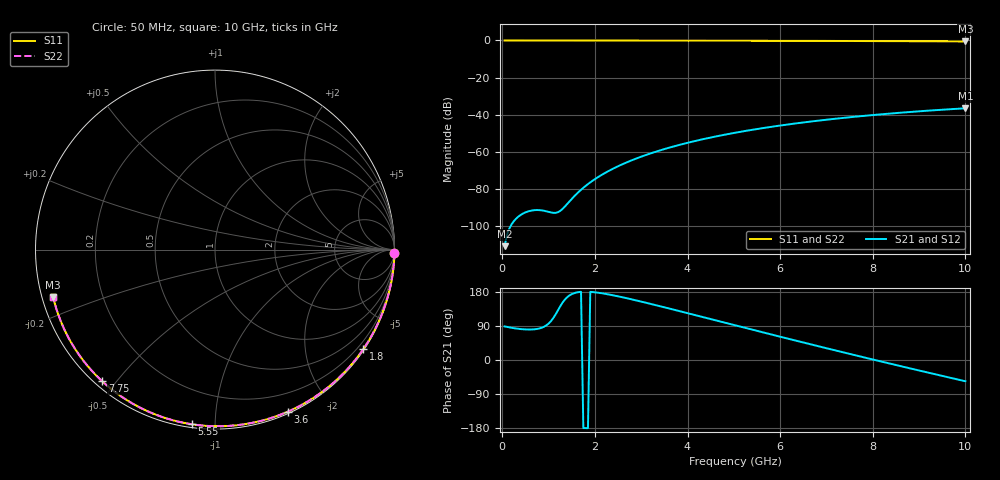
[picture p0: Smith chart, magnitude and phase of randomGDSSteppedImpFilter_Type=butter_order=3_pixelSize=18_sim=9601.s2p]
! freq	dB(S11)	phase(S11)	dB(S12)	phase(S12)
!  dB(S21)	phase(S21)	dB(S22)	phase(S22)
!S-par simulation data
#  GHz  S  DB  R 50
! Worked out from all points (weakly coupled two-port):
!   200 points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, 50 MHz to 10 GHz, reference 50 ohm
!   highest |S21| = -36.53 dB at 10 GHz (marker M1); lowest = -110.8 dB at 50 MHz (marker M2)
!   lowest |S11| = -0.5 dB at 10 GHz (marker M3), VSWR 32.22, Z = 1.58 - j7.18 ohm
!   |S11| at or under -10 dB: nowhere
!   |S22| runs from -0.5 to 0.0 dB; largest |S21 - S12| = 0
!   S11 on the Smith chart (normalised r, x): 50 MHz: open; 1.8 GHz: 0.03, -3.28; 3.6 GHz: 0.02, -1.55; 5.55 GHz: 0.02, -0.88; 7.75 GHz: 0.02, -0.46; 10 GHz: 0.03, -0.14
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0.05  -0.00 -1.0  -110.76 88.7  -110.76 88.7  -0.00 -1.0
0.45  -0.01 -8.6  -93.16 81.1  -93.16 81.1  -0.01 -8.6
0.85  -0.02 -16.2  -91.48 85.1  -91.48 85.1  -0.02 -16.2
1.25  -0.03 -23.7  -91.79 141.6  -91.79 141.6  -0.03 -23.7
1.7  -0.04 -32.0  -80.40 180.0  -80.40 180.0  -0.04 -32.0
1.75  -0.04 -32.9  -79.32 -179.7  -79.32 -179.7  -0.04 -32.9
1.8  -0.04 -33.9  -78.30 -179.6  -78.30 -179.6  -0.04 -33.9
1.95  -0.05 -36.6  -75.52 179.3  -75.52 179.3  -0.05 -36.6
2.1  -0.05 -39.3  -73.07 177.1  -73.07 177.1  -0.05 -39.3
2.45  -0.06 -45.7  -68.32 169.3  -68.32 169.3  -0.06 -45.7
2.9  -0.07 -53.7  -63.50 157.0  -63.50 157.0  -0.07 -53.7
3.4  -0.08 -62.4  -59.23 142.1  -59.23 142.1  -0.08 -62.4
3.6  -0.09 -65.8  -57.75 136.0  -57.75 136.0  -0.09 -65.8
4.3  -0.11 -77.5  -53.35 114.3  -53.35 114.3  -0.11 -77.5
5.05  -0.14 -89.7  -49.59 90.9  -49.59 90.9  -0.14 -89.7
5.55  -0.16 -97.5  -47.48 75.3  -47.48 75.3  -0.16 -97.5
6.1  -0.19 -106.0  -45.46 58.4  -45.46 58.4  -0.19 -106.0
6.7  -0.22 -115.1  -43.54 40.1  -43.54 40.1  -0.22 -115.1
7.75  -0.30 -130.6  -40.74 8.7  -40.74 8.7  -0.30 -130.6
8.35  -0.36 -139.3  -39.41 -8.9  -39.41 -8.9  -0.36 -139.3
9.2  -0.44 -151.8  -37.79 -33.4  -37.79 -33.4  -0.44 -151.8
10  -0.54 -163.6  -36.53 -56.1  -36.53 -56.1  -0.54 -163.6
